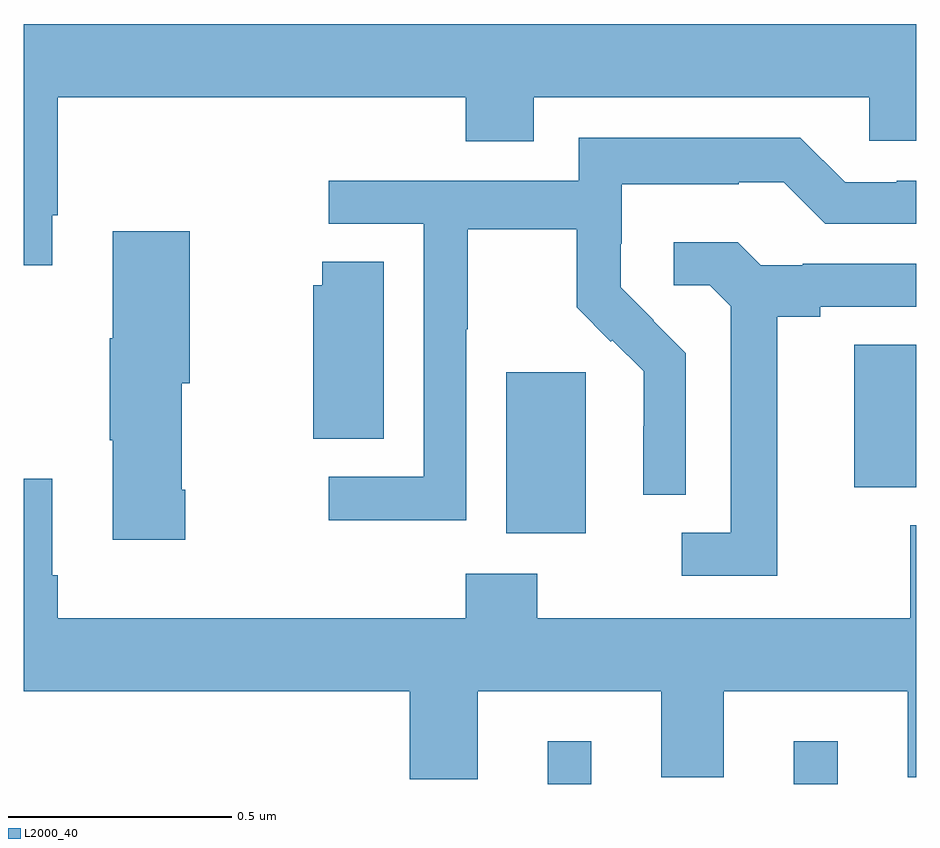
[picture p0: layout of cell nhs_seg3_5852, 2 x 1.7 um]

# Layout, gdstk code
import gdstk
lib = gdstk.Library(unit=1e-6, precision=1e-09)
def R(c, l, rs):  # rectangles x0, y0, x1, y1
    for r in rs: c.add(gdstk.rectangle(r[:2], r[2:], *l))
def P(c, l, *ps):  # polygons
    for p in ps: c.add(gdstk.Polygon(p, *l))
L2000_40 = (2000, 40)

nhs_seg3_5852 = lib.new_cell('nhs_seg3_5852')
R(nhs_seg3_5852, L2000_40, [(185.174,675.4,185.272,675.496), (185.726,675.4,185.824,675.496), (185.081,675.962,185.26,676.323), (185.861,676.065,186,676.385)])
P(nhs_seg3_5852, L2000_40, [(184.063,676.675),(184.076,676.675),(184.076,676.94),(184.991,676.94),(184.991,676.841),(185.143,676.841),(185.143,676.94),(185.895,676.94),(185.895,676.842),(186,676.842),(186,677.104),(184,677.104),(184,676.563),(184.063,676.563)],
  [(184.992,676.42),(184.995,676.42),(184.995,676.644),(185.239,676.644),(185.239,676.469),(185.316,676.392),(185.319,676.395),(185.39,676.325),(185.39,676.202),(185.388,676.202),(185.388,676.048),(185.484,676.048),(185.484,676.366),(185.411,676.439),(185.412,676.44),(185.338,676.514),(185.338,676.611),(185.34,676.611),(185.34,676.745),(185.603,676.745),(185.603,676.749),(185.703,676.749),(185.796,676.656),(186,676.656),(186,676.752),(185.957,676.752),(185.957,676.749),(185.841,676.749),(185.741,676.849),(185.244,676.849),(185.244,676.752),(184.683,676.752),(184.683,676.656),(184.896,676.656),(184.896,676.089),(184.683,676.089),(184.683,675.991),(184.992,675.991)],
  [(184.362,676.06),(184.354,676.06),(184.354,676.299),(184.372,676.299),(184.372,676.639),(184.199,676.639),(184.199,676.399),(184.192,676.399),(184.192,676.171),(184.199,676.171),(184.199,675.948),(184.362,675.948)],
  [(185.689,676.448),(185.785,676.448),(185.785,676.47),(186,676.47),(186,676.566),(185.746,676.566),(185.746,676.563),(185.652,676.563),(185.6,676.615),(185.457,676.615),(185.457,676.518),(185.538,676.518),(185.585,676.471),(185.585,675.963),(185.475,675.963),(185.475,675.867),(185.689,675.867)],
  [(184.807,676.571),(184.669,676.571),(184.669,676.518),(184.649,676.518),(184.649,676.174),(184.807,676.174)],
  [(185.017,675.608),(185.429,675.608),(185.429,675.415),(185.569,675.415),(185.569,675.608),(185.981,675.608),(185.981,675.415),(186,675.415),(186,675.98),(185.987,675.98),(185.987,675.772),(185.151,675.772),(185.151,675.871),(184.991,675.871),(184.991,675.772),(184.076,675.772),(184.076,675.868),(184.063,675.868),(184.063,676.084),(184,676.084),(184,675.608),(184.865,675.608),(184.865,675.411),(185.017,675.411)])

lib.write_gds('nhs_seg3_5852.gds')
